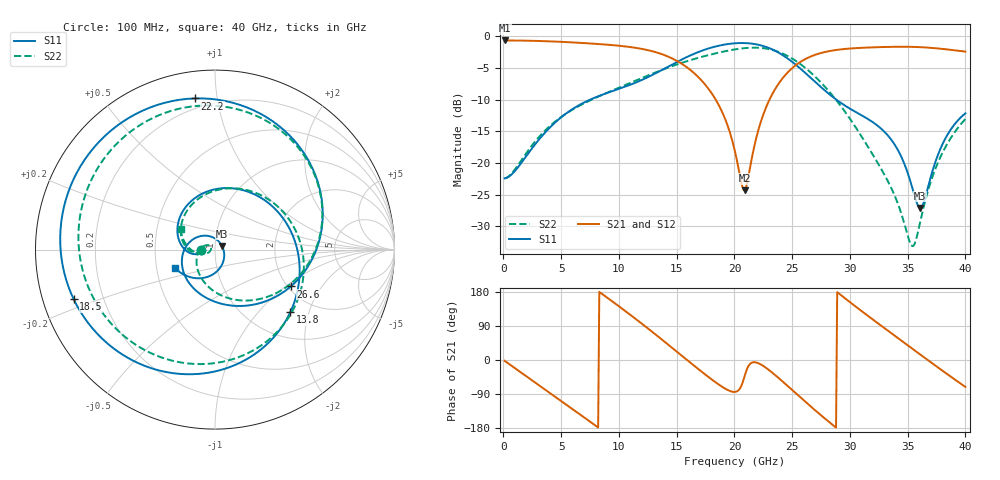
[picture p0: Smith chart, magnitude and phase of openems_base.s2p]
! B_s8_L1L3_stub_d300: L1→L3, through via (stub to L8), drill Ø0.3
! stackup: 8-layer 1.6 mm FR-4 (generic)
! ports: 1, 2
! openEMS 0.37.0, staircase, base mesh (dfine 0.035 mm), 637065 cells
# Hz S RI R 50
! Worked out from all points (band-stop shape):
!   400 points, 100 MHz to 40 GHz, reference 50 ohm
!   highest |S21| = -0.68 dB at 100 MHz (marker M1); lowest = -24.3 dB at 20.9 GHz (marker M2)
!   |S21| within 3 dB of the highest: start of sweep to 14.79 GHz; 26.07 GHz to end of sweep
!   lowest |S11| = -27.1 dB at 36.1 GHz (marker M3), VSWR 1.09, Z = 54 + j2.13 ohm
!   |S11| at or under -10 dB: start of sweep to 7.534 GHz; 28.81 GHz to end of sweep
!   |S22| runs from -33.1 to -1.8 dB; largest |S21 - S12| = 0.0091
!   S11 on the Smith chart (normalised r, x): 100 MHz: 0.86, -0.00; 13.8 GHz: 1.54, -1.52; 18.5 GHz: 0.09, -0.17; 22.2 GHz: 0.14, +0.87; 26.6 GHz: 2.07, -1.09; 40 GHz: 0.62, -0.13
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1e8  -0.0754 -0.00191  0.9239 -0.0349  0.9238 -0.0349  -0.0754 -0.00191
3.6e9  -0.1732 0.00585  0.1912 -0.8923  0.1921 -0.8921  -0.176 0.0371
6.8e9  -0.1513 0.2516  -0.7443 -0.4761  -0.7432 -0.4776  -0.1131 0.2663
8.7e9  0.062 0.3431  -0.8492 0.1368  -0.8494 0.1344  0.0724 0.3411
1.07e10  0.3352 0.2261  -0.4829 0.6704  -0.4852 0.6685  0.3275 0.2585
1.34e10  0.4524 -0.2597  0.3483 0.6495  0.3453 0.6517  0.4803 -0.2178
1.38e10  0.42 -0.3478  0.4411 0.5644  0.4386 0.5672  0.4479 -0.3101
1.63e10  -0.1588 -0.6944  0.5222 -0.0916  0.5235 -0.0894  -0.1459 -0.6348
1.85e10  -0.787 -0.2772  0.1432 -0.2657  0.1444 -0.2653  -0.7057 -0.2097
2.01e10  -0.8057 0.3514  0.0122 -0.1166  0.0128 -0.1165  -0.709 0.3425
2.09e10  -0.6169 0.6298  0.0461 -0.0399  0.0463 -0.0396  -0.5529 0.5844
2.22e10  -0.1125 0.8423  0.1958 -0.0358  0.1959 -0.0346  -0.137 0.7965
2.43e10  0.5584 0.4169  0.2392 -0.4173  0.2422 -0.4147  0.5017 0.5166
2.66e10  0.4224 -0.205  -0.3702 -0.5825  -0.3643 -0.587  0.5075 -0.0968
2.67e10  0.4051 -0.2192  -0.4002 -0.5697  -0.3944 -0.5746  0.4936 -0.1158
2.96e10  -0.0235 -0.2811  -0.7547 0.2428  -0.7592 0.2366  0.0248 -0.2502
3.16e10  -0.1694 -0.1413  -0.3515 0.7336  -0.3591 0.7318  -0.102 -0.0843
3.34e10  -0.1584 0.0214  0.2143 0.7943  0.2066 0.7988  -0.0662 0.0171
3.53e10  -0.0106 0.0676  0.6969 0.4385  0.6956 0.4468  -0.0214 0.00674
3.61e10  0.0393 0.0197  0.7935 0.201  0.7948 0.2085  -0.0319 -0.0133
3.78e10  0.00425 -0.1267  0.7301 -0.3187  0.7336 -0.3136  -0.1081 -0.0165
4e10  -0.2245 -0.1003  0.2449 -0.7142  0.252 -0.7107  -0.1915 0.1121
